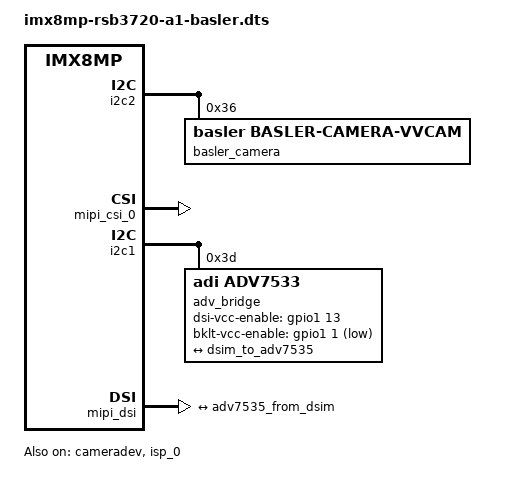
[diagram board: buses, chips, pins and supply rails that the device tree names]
// SPDX-License-Identifier: (GPL-2.0+ OR MIT)
/*
 * Copyright (C) 2020 Basler AG
 * Copyright 2020 NXP
 *
 * This program is free software; you can redistribute it and/or
 * modify it under the terms of the GNU General Public License
 * as published by the Free Software Foundation; either version 2
 * of the License, or (at your option) any later version.
 *
 * This program is distributed in the hope that it will be useful,
 * but WITHOUT ANY WARRANTY; without even the implied warranty of
 * MERCHANTABILITY or FITNESS FOR A PARTICULAR PURPOSE.  See the
 * GNU General Public License for more details.
 */

/dts-v1/;

#include "imx8mp-rsb3720-a1.dts"

&ov5640_0 {
	status = "disabled";
};

&ov5640_1 {
	status = "disabled";
};

&i2c2 {
	basler_camera@36 {
		compatible = "basler,basler-camera-vvcam", "basler-camera-vvcam";
		reg = <0x36>;
		csi_id = <0x00>;
		status = "okay";

		port {
			endpoint {
				data-lanes = <1 2 3 4>;
				clock-lanes = <0>;
				link-frequencies = /bits/ 64 <248000000>;
			};
		};
	};
};

&i2c3 {
	basler_camera@36 {
		compatible = "basler,basler-camera-vvcam", "basler-camera-vvcam";
		reg = <0x36>;
		csi_id = <0x01>;
		status = "disabled";

		port {
			endpoint {
				data-lanes = <1 2 3 4>;
				clock-lanes = <0>;
				link-frequencies = /bits/ 64 <248000000>;
			};
		};
	};
};

&cameradev {
        status = "okay";
};

&isi_0 {
        status = "disabled";
};

&isi_1 {
        status = "disabled";
};

&isp_0 {
        status = "okay";
};

&isp_1 {
        status = "disabled";
};

&mipi_csi_0 {
		status = "okay";
		
        clocks = <&clk IMX8MP_CLK_MEDIA_CAM1_PIX>,
                         <&clk IMX8MP_CLK_MEDIA_AXI>,
                         <&clk IMX8MP_CLK_MEDIA_APB>;
        clock-names = "mipi_clk", "axi_root", "apb_root";
        assigned-clocks = <&clk IMX8MP_CLK_MEDIA_CAM1_PIX>,
                          <&clk IMX8MP_CLK_MEDIA_AXI>,
                          <&clk IMX8MP_CLK_MEDIA_APB>;
        assigned-clock-parents = <&clk IMX8MP_SYS_PLL2_1000M>,
                                 <&clk IMX8MP_SYS_PLL2_500M>,
                                 <&clk IMX8MP_SYS_PLL1_800M>;
        assigned-clock-rates = <500000000>, <500000000>, <200000000>;
};

&mipi_csi_1 {
		status = "disabled";
		
        clocks = <&clk IMX8MP_CLK_MEDIA_CAM2_PIX>,
                         <&clk IMX8MP_CLK_MEDIA_AXI>,
                         <&clk IMX8MP_CLK_MEDIA_APB>;
        clock-names = "mipi_clk", "axi_root", "apb_root";
        assigned-clocks = <&clk IMX8MP_CLK_MEDIA_CAM2_PIX>,
                          <&clk IMX8MP_CLK_MEDIA_AXI>,
                          <&clk IMX8MP_CLK_MEDIA_APB>;
        assigned-clock-parents = <&clk IMX8MP_SYS_PLL2_1000M>,
                                 <&clk IMX8MP_SYS_PLL2_500M>,
                                 <&clk IMX8MP_SYS_PLL1_800M>;
        assigned-clock-rates = <500000000>, <500000000>, <200000000>;
};

&ldb {
	status = "disabled";
};

&ldb_phy {
	status = "disabled";
};

&lvds_backlight0 {
	status = "disabled";
};

&i2c1 {
	adv_bridge: adv7535@3d {
		compatible = "adi,adv7533";
		reg = <0x3d>;
		adi,addr-cec = <0x3b>;
		adi,dsi-lanes = <4>;
		dsi-vcc-enable-gpio = <&gpio1 13 GPIO_ACTIVE_HIGH>;	/* LCD_VDD_EN */
		bklt-vcc-enable-gpio = <&gpio1 1 GPIO_ACTIVE_LOW>;	/* VDD_BKLT1_EN */
		status = "okay";

		port {
			adv7535_from_dsim: endpoint {
				remote-endpoint = <&dsim_to_adv7535>;
			};
		};
	};
};

&mipi_dsi {
	status = "okay";

	port@1 {
		dsim_to_adv7535: endpoint {
			remote-endpoint = <&adv7535_from_dsim>;
			attach-bridge;
		};
	};
};
